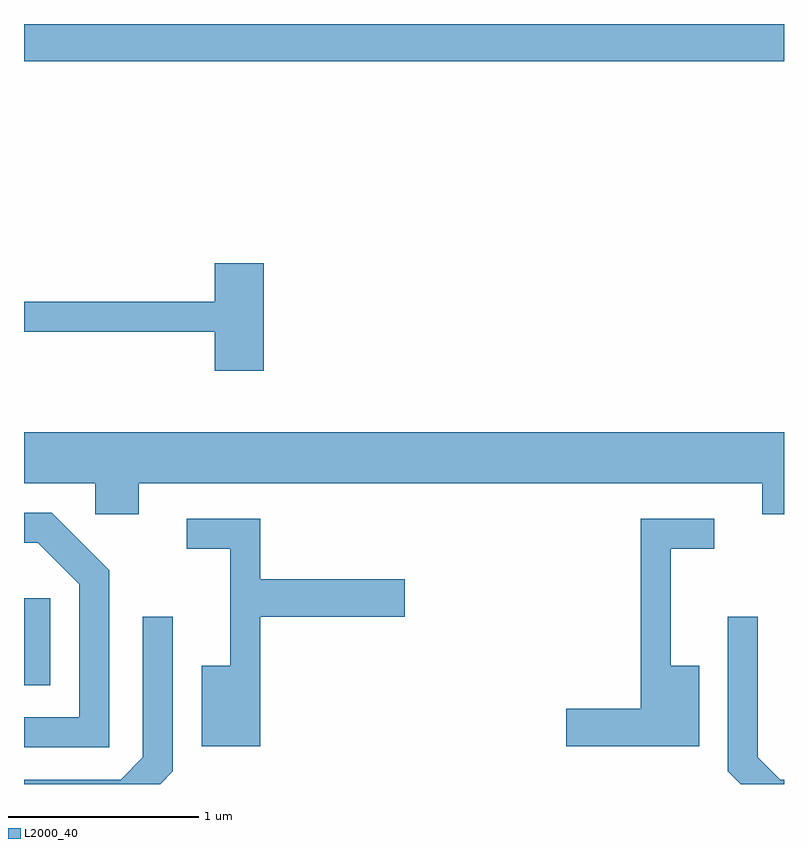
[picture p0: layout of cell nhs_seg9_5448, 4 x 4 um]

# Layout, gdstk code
import gdstk
lib = gdstk.Library(unit=1e-6, precision=1e-09)
def R(c, l, rs):  # rectangles x0, y0, x1, y1
    for r in rs: c.add(gdstk.rectangle(r[:2], r[2:], *l))
def P(c, l, *ps):  # polygons
    for p in ps: c.add(gdstk.Polygon(p, *l))
L2000_40 = (2000, 40)

nhs_seg9_5448 = lib.new_cell('nhs_seg9_5448')
R(nhs_seg9_5448, L2000_40, [(345.611,2012.951,345.749,2013.409), (345.611,2016.236,349.611,2016.432)])
P(nhs_seg9_5448, L2000_40, [(346.874,2015.174),(346.616,2015.174),(346.616,2014.969),(345.611,2014.969),(345.611,2014.811),(346.616,2014.811),(346.616,2014.606),(346.874,2014.606)],
  [(346.214,2014.016),(349.496,2014.016),(349.496,2013.851),(349.611,2013.851),(349.611,2014.284),(345.611,2014.284),(345.611,2014.016),(345.986,2014.016),(345.986,2013.851),(346.214,2013.851)],
  [(346.059,2013.557),(345.757,2013.859),(345.611,2013.859),(345.611,2013.701),(345.684,2013.701),(345.901,2013.484),(345.901,2012.784),(345.611,2012.784),(345.611,2012.626),(346.059,2012.626)],
  [(349.164,2013.054),(349.014,2013.054),(349.014,2013.671),(349.243,2013.671),(349.243,2013.829),(348.856,2013.829),(348.856,2012.829),(348.466,2012.829),(348.466,2012.631),(349.164,2012.631)],
  [(346.854,2013.311),(347.614,2013.311),(347.614,2013.509),(346.854,2013.509),(346.854,2013.829),(346.468,2013.829),(346.468,2013.671),(346.696,2013.671),(346.696,2013.054),(346.546,2013.054),(346.546,2012.631),(346.854,2012.631)],
  [(349.611,2012.454),(349.592,2012.454),(349.474,2012.572),(349.474,2013.313),(349.316,2013.313),(349.316,2012.499),(349.383,2012.432),(349.611,2012.432)],
  [(346.394,2012.499),(346.394,2013.313),(346.236,2013.313),(346.236,2012.572),(346.119,2012.454),(345.611,2012.454),(345.611,2012.432),(346.327,2012.432)])

lib.write_gds('nhs_seg9_5448.gds')
